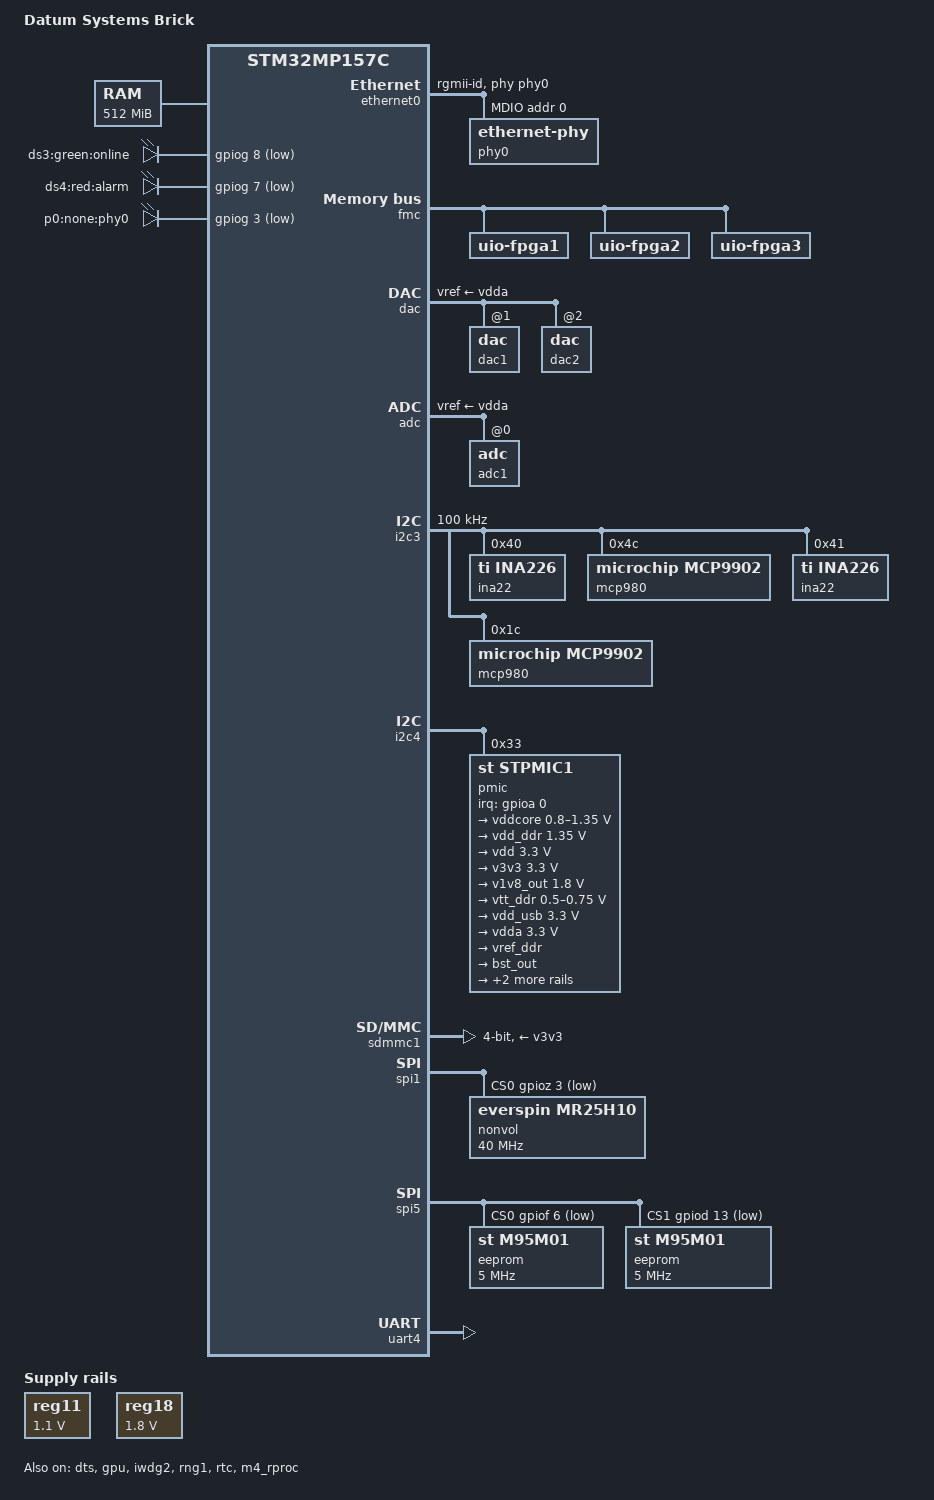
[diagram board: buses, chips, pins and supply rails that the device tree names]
// SPDX-License-Identifier: (GPL-2.0+ OR BSD-3-Clause)
/*
 * Copyright (C) Datum Systems 2020 - All Rights Reserved
 * Author: Mark Carlin <mcarlin@datumsystems.com> for Datum Systems, Inc.
 */

/dts-v1/;

#include "brick-stm32mp157c.dtsi"
#include "brick-pinctrl.dtsi"
#include <dt-bindings/gpio/gpio.h>
#include <dt-bindings/mfd/st,stpmic1.h>

/ {
	model = "Datum Systems Brick";
	compatible = "octavo,osd32mp1-brk", "datum,brick";

	aliases {
		ethernet0 = &ethernet0;
		serial0 = &uart4;
	};

	chosen {
		stdout-path = "serial0:115200n8";
	};

	memory@c0000000 {
		reg = <0xc0000000 0x20000000>;
	};

	reserved-memory {
		#address-cells = <1>;
		#size-cells = <1>;
		ranges;

		gpu_reserved: gpu@d4000000 {
			reg = <0xd4000000 0x4000000>;
			no-map;
		};
	};

	leds {
		compatible = "gpio-leds";
		ds3_green {
			label = "ds3:green:online";
			gpios = <&gpiog 8 GPIO_ACTIVE_LOW>;
			linux,default-trigger = "off";
			default-state = "off";
		};
		d4_red {
			label = "ds4:red:alarm";
			gpios = <&gpiog 7 GPIO_ACTIVE_LOW>;
			linux,default-trigger = "off";
			default-state = "off";
		};
		phy0 {
			label = "p0:none:phy0";
			gpios = <&gpiog 3 GPIO_ACTIVE_LOW>;
			linux,default-trigger = "off";
			default-state = "off";
		};
	};

	reg11: reg11 {
		compatible = "regulator-fixed";
		regulator-name = "reg11";
		regulator-min-microvolt = <1100000>;
		regulator-max-microvolt = <1100000>;
		regulator-always-on;
	};

	reg18: reg18 {
		compatible = "regulator-fixed";
		regulator-name = "reg18";
		regulator-min-microvolt = <1800000>;
		regulator-max-microvolt = <1800000>;
		regulator-always-on;
	};
};

&dts {
	status = "okay";
};

&ethernet0 {
	status = "okay";
	pinctrl-0 = <&ethernet0_rgmii_pins_a>;
	pinctrl-1 = <&ethernet0_rgmii_pins_sleep_a>;
	pinctrl-names = "default", "sleep";
	phy-mode = "rgmii-id";
	max-speed = <1000>;
	phy-handle = <&phy0>;

	mdio0 {
		#address-cells = <1>;
		#size-cells = <0>;
		compatible = "snps,dwmac-mdio";
		phy0: ethernet-phy@0 {
			reg = <0>;
		};
	};
};

&fmc {
	pinctrl-names = "default", "sleep";
	pinctrl-0 = <&fmc_pins_b>;
	pinctrl-1 = <&fmc_sleep_pins_b>;
	status = "okay";
	#address-cells = <1>;
	#size-cells = <1>;

	interrupts-extended = <&gpioh 13 IRQ_TYPE_EDGE_RISING>, <&gpioh 14 IRQ_TYPE_EDGE_RISING>, <&gpioh 15 IRQ_TYPE_EDGE_RISING>;
	//interrupts-extended = <&gpioh 13 IRQ_TYPE_LEVEL_HIGH>, <&gpioh 14 IRQ_TYPE_LEVEL_HIGH>, <&gpioh 15 IRQ_TYPE_LEVEL_HIGH>;
	//interrupt-names = "FMC_INT1", "FMC_INT2", "FMC_INT3";
	
	uio-fpga1@1 {
		#address-cells = <1>;
		#size-cells = <1>;
		reg = <0x60000000 0x1000>;
	};
	uio-fpga2@2 {
		#address-cells = <1>;
		#size-cells = <1>;
		reg = <0x64000000 0x1000>;
	};
	uio-fpga3@3 {
		#address-cells = <1>;
		#size-cells = <1>;
		reg = <0x68000000 0x1000>;
	};
};

&gpu {
	contiguous-area = <&gpu_reserved>;
	status = "okay";
};

&dac {
	pinctrl-names = "default";
	pinctrl-0 = <&dac_ch1_pins_a &dac_ch2_pins_a>;
	vref-supply = <&vdda>;
	status = "okay";
	dac1: dac@1 {
		status = "okay";
	};
	dac2: dac@2 {
		status = "okay";
	};
};

&adc {
	/* ADC1 & ADC2 common resources */
	pinctrl-names = "default";
	pinctrl-0 = <&adc1_ain_pins_a>;
	vdda-supply = <&vdda>;
	vref-supply = <&vdda>;
	status = "okay";
	adc1: adc@0 {
		/* private resources for ADC1 */
		st,adc-channels = <0 1 2 10 13 15>;
		st,min-sample-time-nsecs = <30000>;
		assigned-resolution-bits = <16>;
		status = "okay";
	};
};

&i2c3 {
	pinctrl-names = "default";
	pinctrl-0 = <&i2c3_pins_a>;
	clock-frequency = <100000>;
	status = "okay";
	/* spare dmas for other usage */
	/delete-property/dmas;
	/delete-property/dma-names;
	
	ina22@40 {
		compatible = "ti,ina226";
		reg = <0x40>;
		shunt_resistor = <10000>;
		status = "okay";
	};

	mcp980@4c {
		compatible = "microchip,mcp9902";
		reg = <0x4c>;
		status = "okay";
	};
	
	ina22@41 {
		compatible = "ti,ina226";
		reg = <0x41>;
		shunt_resistor = <10000>;
		status = "okay";
	};
	
	mcp980@1c {
		compatible = "microchip,mcp9902";
		reg = <0x1c>;
		status = "okay";
	};

};
	
&i2c4 {
	pinctrl-names = "default";
	pinctrl-0 = <&i2c4_pins_a>;
	i2c-scl-rising-time-ns = <185>;
	i2c-scl-falling-time-ns = <20>;
	status = "okay";
	/* spare dmas for other usage */
	/delete-property/dmas;
	/delete-property/dma-names;

	pmic: stpmic@33 {
		compatible = "st,stpmic1";
		reg = <0x33>;
		interrupts-extended = <&gpioa 0 IRQ_TYPE_EDGE_FALLING>;
		interrupt-controller;
		#interrupt-cells = <2>;
		status = "okay";

		regulators {
			compatible = "st,stpmic1-regulators";
			ldo1-supply = <&v3v3>;
			ldo3-supply = <&vdd_ddr>;
			ldo6-supply = <&v3v3>;
			pwr_sw1-supply = <&bst_out>;
			pwr_sw2-supply = <&bst_out>;

			vddcore: buck1 {
				regulator-name = "vddcore";
				regulator-min-microvolt = <800000>;
				regulator-max-microvolt = <1350000>;
				regulator-always-on;
				regulator-initial-mode = <0>;
				regulator-over-current-protection;
			};

			vdd_ddr: buck2 {
				regulator-name = "vdd_ddr";
				regulator-min-microvolt = <1350000>;
				regulator-max-microvolt = <1350000>;
				regulator-always-on;
				regulator-initial-mode = <0>;
				regulator-over-current-protection;
			};

			vdd: buck3 {
				regulator-name = "vdd";
				regulator-min-microvolt = <3300000>;
				regulator-max-microvolt = <3300000>;
				regulator-always-on;
				st,mask-reset;
				regulator-initial-mode = <0>;
				regulator-over-current-protection;
			};

			v3v3: buck4 {
				regulator-name = "v3v3";
				regulator-min-microvolt = <3300000>;
				regulator-max-microvolt = <3300000>;
				regulator-always-on;
				regulator-over-current-protection;
				regulator-initial-mode = <0>;
			};

			v1v8_out: ldo2 {
				regulator-name = "v1v8_out";
				regulator-min-microvolt = <1800000>;
				regulator-max-microvolt = <1800000>;
				regulator-always-on;
				interrupts = <IT_CURLIM_LDO2 0>;
			};

			vtt_ddr: ldo3 {
				regulator-name = "vtt_ddr";
				regulator-min-microvolt = <500000>;
				regulator-max-microvolt = <750000>;
				regulator-always-on;
				regulator-over-current-protection;
			};

			vdd_usb: ldo4 {
				regulator-name = "vdd_usb";
				regulator-min-microvolt = <3300000>;
				regulator-max-microvolt = <3300000>;
				interrupts = <IT_CURLIM_LDO4 0>;
				status = "disabled";
			};

			vdda: ldo5 {
				regulator-name = "vdda";
				regulator-min-microvolt = <3300000>;
				regulator-max-microvolt = <3300000>;
				interrupts = <IT_CURLIM_LDO5 0>;
				regulator-boot-on;
			};

			vref_ddr: vref_ddr {
				regulator-name = "vref_ddr";
				regulator-always-on;
				regulator-over-current-protection;
			};

			bst_out: boost {
				regulator-name = "bst_out";
				interrupts = <IT_OCP_BOOST 0>;
			};

			vbus_otg: pwr_sw1 {
				regulator-name = "vbus_otg";
				interrupts = <IT_OCP_OTG 0>;
			};

			sw_out: pwr_sw2 {
				regulator-name = "sw_out";
				interrupts = <IT_OCP_SWOUT 0>;
				regulator-active-discharge;
				regulator-always-on;
			};
		};

		watchdog {
			compatible = "st,stpmic1-wdt";
			status = "disabled";
		};
	};
};

&ipcc {
	status = "okay";
};

&iwdg2 {
	timeout-sec = <32>;
	status = "okay";
};

&rng1 {
	status = "okay";
};

&rtc {
	status = "okay";
};

&sdmmc1 {
	pinctrl-names = "default", "opendrain", "sleep";
	pinctrl-0 = <&sdmmc1_b4_pins_a>;
	pinctrl-1 = <&sdmmc1_b4_od_pins_a>;
	pinctrl-2 = <&sdmmc1_b4_sleep_pins_a>;
	broken-cd;
	st,neg-edge;
	bus-width = <4>;
	vmmc-supply = <&v3v3>;
	status = "okay";
};

//&sdmmc2 {
//	pinctrl-names = "default", "opendrain", "sleep";
//	pinctrl-0 = <&sdmmc2_b4_pins_a &sdmmc2_d47_pins_a>;
//	pinctrl-1 = <&sdmmc2_b4_od_pins_a &sdmmc2_d47_pins_a>;
//	pinctrl-2 = <&sdmmc2_b4_sleep_pins_a &sdmmc2_d47_sleep_pins_a>;
//	non-removable;
//	no-sd;
//	no-sdio;
//	st,neg-edge;
//	bus-width = <8>;
//	vmmc-supply = <&v3v3>;
//	vqmmc-supply = <&v3v3>;
//	mmc-ddr-3_3v;
//	status = "okay";
//};

&spi1 {
	pinctrl-names = "default";
	pinctrl-0 = <&spi1_pins_a>;
	cs-gpios = <&gpioz 3 GPIO_ACTIVE_LOW>;
	status = "okay";
	
	nonvol@0 {
		#address-cells = <1>;
		#size-cells = <1>;
		compatible = "everspin,mr25h10";
		reg = <0>; /* CS #0 */
		spi-max-frequency = <40000000>;
		status = "okay";
	};
};

&spi5 {
	pinctrl-names = "default";
	pinctrl-0 = <&spi5_pins_a>;
	cs-gpios = <&gpiof 6 GPIO_ACTIVE_LOW>, <&gpiod 13 GPIO_ACTIVE_LOW>;
	status = "okay";
	
	eeprom@0 {
		compatible = "st,m95m01", "atmel,at25";
		reg = <0>; /* CS #0 */
		spi-max-frequency = <5000000>;
		pagesize = <256>;
		size = <131072>;
		address-width = <24>;
		status = "okay";
	};
		
	eeprom@1 {
		compatible = "st,m95m01", "atmel,at25";
		reg = <1>; /* CS #1 */
		spi-max-frequency = <5000000>;
		pagesize = <256>;
		size = <131072>;
		address-width = <24>;
		status = "okay";
	};
};

&uart4 {
	pinctrl-names = "default";
	pinctrl-0 = <&uart4_pins_c>;
	status = "okay";
};

&m4_rproc{
	recovery;
	status = "okay";
	mboxes = <&ipcc 0>, <&ipcc 1>, <&ipcc 2>;
	mbox-names = "vq0", "vq1", "shutdown";
};
